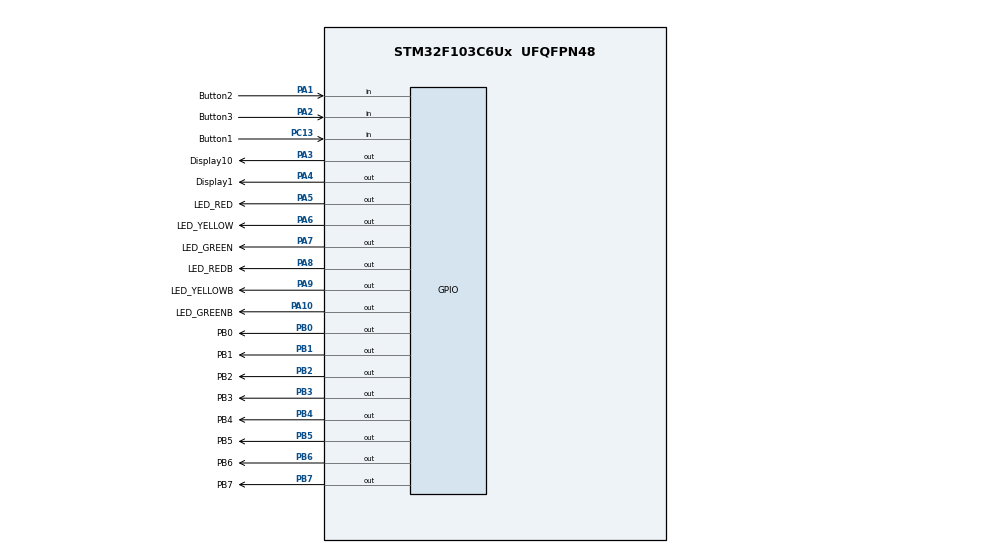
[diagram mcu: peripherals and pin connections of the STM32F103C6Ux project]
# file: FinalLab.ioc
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Mcu.Family=STM32F1
Mcu.Name=STM32F103C6Ux
Mcu.Package=UFQFPN48
NVIC.PriorityGroup=NVIC_PRIORITYGROUP_4
NVIC.TIM2_IRQn=true\:0\:0\:false\:false\:true\:true\:true
PA1.GPIO_Label=Button2
PA1.GPIO_PuPd=GPIO_PULLUP
PA1.Signal=GPIO_Input
PA10.GPIO_Label=LED_GREENB
PA10.Signal=GPIO_Output
PA2.GPIO_Label=Button3
PA2.GPIO_PuPd=GPIO_PULLUP
PA2.Signal=GPIO_Input
PA3.GPIO_Label=Display10
PA3.Signal=GPIO_Output
PA4.GPIO_Label=Display1
PA4.Signal=GPIO_Output
PA5.GPIO_Label=LED_RED
PA5.Signal=GPIO_Output
PA6.GPIO_Label=LED_YELLOW
PA6.Signal=GPIO_Output
PA7.GPIO_Label=LED_GREEN
PA7.Signal=GPIO_Output
PA8.GPIO_Label=LED_REDB
PA8.Signal=GPIO_Output
PA9.GPIO_Label=LED_YELLOWB
PA9.Signal=GPIO_Output
PB0.GPIO_Label=PB0
PB0.Signal=GPIO_Output
PB1.GPIO_Label=PB1
PB1.Signal=GPIO_Output
PB2.GPIO_Label=PB2
PB2.Signal=GPIO_Output
PB3.GPIO_Label=PB3
PB3.Signal=GPIO_Output
PB4.GPIO_Label=PB4
PB4.Signal=GPIO_Output
PB5.GPIO_Label=PB5
PB5.Signal=GPIO_Output
PB6.GPIO_Label=PB6
PB6.Signal=GPIO_Output
PB7.GPIO_Label=PB7
PB7.Signal=GPIO_Output
PC13-TAMPER-RTC.GPIO_Label=Button1
PC13-TAMPER-RTC.GPIO_PuPd=GPIO_PULLUP
PC13-TAMPER-RTC.Signal=GPIO_Input
ProjectManager.HeapSize=0x200
ProjectManager.StackSize=0x400
ProjectManager.TargetToolchain=STM32CubeIDE
RCC.APB1Freq_Value=8000000
RCC.APB2Freq_Value=8000000
TIM2.Period=9
TIM2.Prescaler=7999
VP_SYS_VS_ND.Mode=No_Debug
VP_TIM2_VS_ClockSourceINT.Mode=Internal
board=custom

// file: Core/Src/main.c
/* USER CODE BEGIN Header */
/**
  ******************************************************************************
  * @file           : main.c
  * @brief          : Main program body
  ******************************************************************************
  * @attention
  *
  * <h2><center>&copy; Copyright (c) 2024 STMicroelectronics.
  * All rights reserved.</center></h2>
  *
  * This software component is licensed by ST under BSD 3-Clause license,
  * the "License"; You may not use this file except in compliance with the
  * License. You may obtain a copy of the License at:
  *                        opensource.org/licenses/BSD-3-Clause
  *
  ******************************************************************************
  */
/* USER CODE END Header */
#include "main.h"

/* USER CODE BEGIN Includes */
#include "SCH_Schedual.h"
#include "software_timer.h"
#include "FSM_LEDNORMALLY.h"
#include "Dis7SEG.h"
#include "global.h"
/* USER CODE END Includes */

TIM_HandleTypeDef htim2;

void SystemClock_Config(void);
static void MX_TIM2_Init(void);
static void MX_GPIO_Init(void);
/* USER CODE BEGIN PFP */
Button button1; // Declare a variable of type Button
Button button2; // Declare a variable of type Button
Button button3; // Declare a variable of type Button
int isLongPress = 0;
void Toggle2(){
	HAL_GPIO_TogglePin(GPIOA, GPIO_PIN_4);

}

/* USER CODE END PFP */

int main(void)
{

  /* MCU Configuration--------------------------------------------------------*/

  /* Reset of all peripherals, Initializes the Flash interface and the Systick. */
  HAL_Init();

  /* Configure the system clock */
  SystemClock_Config();

  /* Initialize all configured peripherals */
  MX_TIM2_Init();
  MX_GPIO_Init();
  /* USER CODE BEGIN 2 */
  HAL_TIM_Base_Start_IT (& htim2 ) ;
  SCH_Init();
  button1.GPIOx = Button1_GPIO_Port;
    button1.GPIO_Pin = Button1_Pin;
    initButton(&button1);
    button2.GPIOx = Button2_GPIO_Port;
      button2.GPIO_Pin = Button2_Pin;
      initButton(&button2);
      button3.GPIOx = Button3_GPIO_Port;
      button3.GPIO_Pin = Button3_Pin;
      initButton(&button3);

  /* USER CODE END 2 */

  /* Infinite loop */
  /* USER CODE BEGIN WHILE */
    setTimer1(100);
    setTimer3(100);
    setTimer2(1000);
    status = 0;
  while (1)
  {
    /* USER CODE END WHILE */

    /* USER CODE BEGIN 3 */
	  //Display();
	  STM_Manager();
	  if(timer3_flag ==1){
		  HAL_GPIO_TogglePin(GPIOA, GPIO_PIN_5);
		  setTimer3(100);
	  }
	  //SCH_Dispatch_Tasks();
  }
  /* USER CODE END 3 */
}

void SystemClock_Config(void)
{
  RCC_OscInitTypeDef RCC_OscInitStruct = {0};
  RCC_ClkInitTypeDef RCC_ClkInitStruct = {0};

  /** Initializes the RCC Oscillators according to the specified parameters
  * in the RCC_OscInitTypeDef structure.
  */
  RCC_OscInitStruct.OscillatorType = RCC_OSCILLATORTYPE_HSI;
  RCC_OscInitStruct.HSIState = RCC_HSI_ON;
  RCC_OscInitStruct.HSICalibrationValue = RCC_HSICALIBRATION_DEFAULT;
  RCC_OscInitStruct.PLL.PLLState = RCC_PLL_NONE;
  if (HAL_RCC_OscConfig(&RCC_OscInitStruct) != HAL_OK)
  {
    Error_Handler();
  }
  /** Initializes the CPU, AHB and APB buses clocks
  */
  RCC_ClkInitStruct.ClockType = RCC_CLOCKTYPE_HCLK|RCC_CLOCKTYPE_SYSCLK
                              |RCC_CLOCKTYPE_PCLK1|RCC_CLOCKTYPE_PCLK2;
  RCC_ClkInitStruct.SYSCLKSource = RCC_SYSCLKSOURCE_HSI;
  RCC_ClkInitStruct.AHBCLKDivider = RCC_SYSCLK_DIV1;
  RCC_ClkInitStruct.APB1CLKDivider = RCC_HCLK_DIV1;
  RCC_ClkInitStruct.APB2CLKDivider = RCC_HCLK_DIV1;

  if (HAL_RCC_ClockConfig(&RCC_ClkInitStruct, FLASH_LATENCY_0) != HAL_OK)
  {
    Error_Handler();
  }
}

static void MX_TIM2_Init(void)
{

  TIM_ClockConfigTypeDef sClockSourceConfig = {0};
  TIM_MasterConfigTypeDef sMasterConfig = {0};

  htim2.Instance = TIM2;
  htim2.Init.Prescaler = 7999;
  htim2.Init.CounterMode = TIM_COUNTERMODE_UP;
  htim2.Init.Period = 9;
  htim2.Init.ClockDivision = TIM_CLOCKDIVISION_DIV1;
  htim2.Init.AutoReloadPreload = TIM_AUTORELOAD_PRELOAD_DISABLE;
  if (HAL_TIM_Base_Init(&htim2) != HAL_OK)
  {
    Error_Handler();
  }
  sClockSourceConfig.ClockSource = TIM_CLOCKSOURCE_INTERNAL;
  if (HAL_TIM_ConfigClockSource(&htim2, &sClockSourceConfig) != HAL_OK)
  {
    Error_Handler();
  }
  sMasterConfig.MasterOutputTrigger = TIM_TRGO_RESET;
  sMasterConfig.MasterSlaveMode = TIM_MASTERSLAVEMODE_DISABLE;
  if (HAL_TIMEx_MasterConfigSynchronization(&htim2, &sMasterConfig) != HAL_OK)
  {
    Error_Handler();
  }

}

static void MX_GPIO_Init(void)
{
  GPIO_InitTypeDef GPIO_InitStruct = {0};

  /* GPIO Ports Clock Enable */
  __HAL_RCC_GPIOC_CLK_ENABLE();
  __HAL_RCC_GPIOA_CLK_ENABLE();
  __HAL_RCC_GPIOB_CLK_ENABLE();

  /*Configure GPIO pin Output Level */
  HAL_GPIO_WritePin(GPIOA, Display10_Pin|Display1_Pin|LED_RED_Pin|LED_YELLOW_Pin
                          |LED_GREEN_Pin|LED_REDB_Pin|LED_YELLOWB_Pin|LED_GREENB_Pin, GPIO_PIN_RESET);

  /*Configure GPIO pin Output Level */
  HAL_GPIO_WritePin(GPIOB, PB0_Pin|PB1_Pin|PB2_Pin|PB3_Pin
                          |PB4_Pin|PB5_Pin|PB6_Pin|PB7_Pin, GPIO_PIN_RESET);

  /*Configure GPIO pin : Button1_Pin */
  GPIO_InitStruct.Pin = Button1_Pin;
  GPIO_InitStruct.Mode = GPIO_MODE_INPUT;
  GPIO_InitStruct.Pull = GPIO_PULLUP;
  HAL_GPIO_Init(Button1_GPIO_Port, &GPIO_InitStruct);

  /*Configure GPIO pins : Button2_Pin Button3_Pin */
  GPIO_InitStruct.Pin = Button2_Pin|Button3_Pin;
  GPIO_InitStruct.Mode = GPIO_MODE_INPUT;
  GPIO_InitStruct.Pull = GPIO_PULLUP;
  HAL_GPIO_Init(GPIOA, &GPIO_InitStruct);

  /*Configure GPIO pins : Display10_Pin Display1_Pin LED_RED_Pin LED_YELLOW_Pin
                           LED_GREEN_Pin LED_REDB_Pin LED_YELLOWB_Pin LED_GREENB_Pin */
  GPIO_InitStruct.Pin = Display10_Pin|Display1_Pin|LED_RED_Pin|LED_YELLOW_Pin
                          |LED_GREEN_Pin|LED_REDB_Pin|LED_YELLOWB_Pin|LED_GREENB_Pin;
  GPIO_InitStruct.Mode = GPIO_MODE_OUTPUT_PP;
  GPIO_InitStruct.Pull = GPIO_NOPULL;
  GPIO_InitStruct.Speed = GPIO_SPEED_FREQ_LOW;
  HAL_GPIO_Init(GPIOA, &GPIO_InitStruct);

  /*Configure GPIO pins : PB0_Pin PB1_Pin PB2_Pin PB3_Pin
                           PB4_Pin PB5_Pin PB6_Pin PB7_Pin */
  GPIO_InitStruct.Pin = PB0_Pin|PB1_Pin|PB2_Pin|PB3_Pin
                          |PB4_Pin|PB5_Pin|PB6_Pin|PB7_Pin;
  GPIO_InitStruct.Mode = GPIO_MODE_OUTPUT_PP;
  GPIO_InitStruct.Pull = GPIO_NOPULL;
  GPIO_InitStruct.Speed = GPIO_SPEED_FREQ_LOW;
  HAL_GPIO_Init(GPIOB, &GPIO_InitStruct);

}

/* USER CODE BEGIN 4 */
void HAL_TIM_PeriodElapsedCallback ( TIM_HandleTypeDef * htim ){
	//SCH_Update();
	getKeyInput(&button1);
	getKeyInput(&button2);
	getKeyInput(&button3);
	timerRun();
}
/* USER CODE END 4 */

void Error_Handler(void)
{
  __disable_irq();
  while (1)
  {
  }
}

/************************ (C) COPYRIGHT STMicroelectronics *****END OF FILE****/
